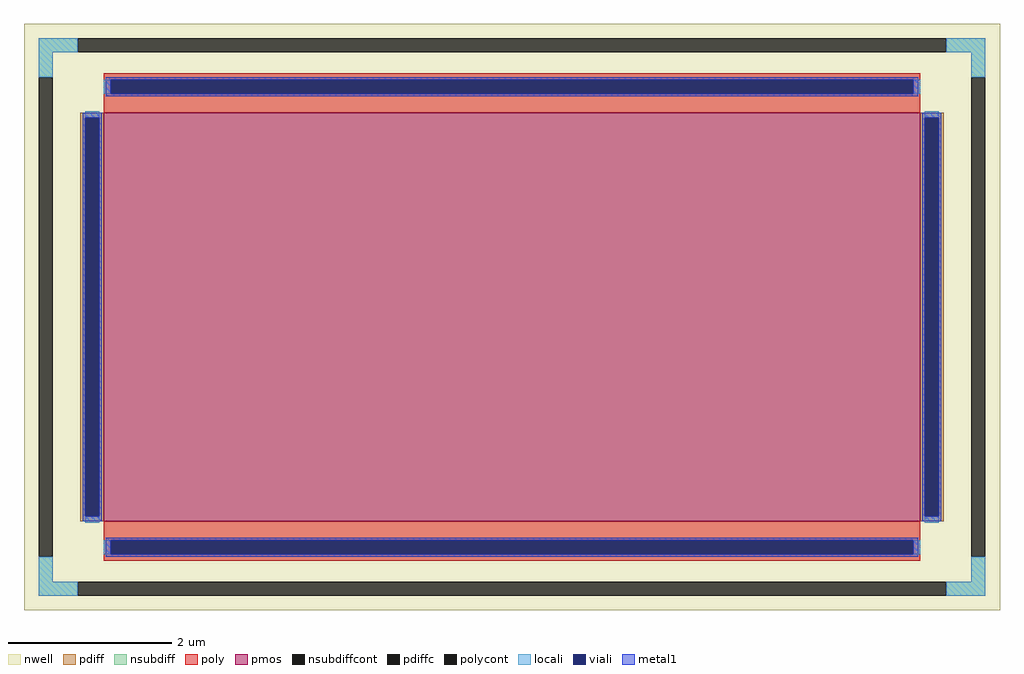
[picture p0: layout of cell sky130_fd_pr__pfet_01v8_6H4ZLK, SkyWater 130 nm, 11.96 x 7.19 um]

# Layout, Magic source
magic
tech sky130A
magscale 1 2
<< nwell >>
rect -1196 -719 1196 719
<< pmos >>
rect -1000 -500 1000 500
<< pdiff >>
rect -1058 488 -1000 500
rect -1058 -488 -1046 488
rect -1012 -488 -1000 488
rect -1058 -500 -1000 -488
rect 1000 488 1058 500
rect 1000 -488 1012 488
rect 1046 -488 1058 488
rect 1000 -500 1058 -488
<< pdiffc >>
rect -1046 -488 -1012 488
rect 1012 -488 1046 488
<< nsubdiff >>
rect -1160 649 -1064 683
rect 1064 649 1160 683
rect -1160 587 -1126 649
rect 1126 587 1160 649
rect -1160 -649 -1126 -587
rect 1126 -649 1160 -587
rect -1160 -683 -1064 -649
rect 1064 -683 1160 -649
<< nsubdiffcont >>
rect -1064 649 1064 683
rect -1160 -587 -1126 587
rect 1126 -587 1160 587
rect -1064 -683 1064 -649
<< poly >>
rect -1000 581 1000 597
rect -1000 547 -984 581
rect 984 547 1000 581
rect -1000 500 1000 547
rect -1000 -547 1000 -500
rect -1000 -581 -984 -547
rect 984 -581 1000 -547
rect -1000 -597 1000 -581
<< polycont >>
rect -984 547 984 581
rect -984 -581 984 -547
<< locali >>
rect -1160 649 -1064 683
rect 1064 649 1160 683
rect -1160 587 -1126 649
rect 1126 587 1160 649
rect -1000 547 -984 581
rect 984 547 1000 581
rect -1046 488 -1012 504
rect -1046 -504 -1012 -488
rect 1012 488 1046 504
rect 1012 -504 1046 -488
rect -1000 -581 -984 -547
rect 984 -581 1000 -547
rect -1160 -649 -1126 -587
rect 1126 -649 1160 -587
rect -1160 -683 -1064 -649
rect 1064 -683 1160 -649
<< viali >>
rect -984 547 984 581
rect -1046 -488 -1012 488
rect 1012 -488 1046 488
rect -984 -581 984 -547
<< metal1 >>
rect -996 581 996 587
rect -996 547 -984 581
rect 984 547 996 581
rect -996 541 996 547
rect -1052 488 -1006 500
rect -1052 -488 -1046 488
rect -1012 -488 -1006 488
rect -1052 -500 -1006 -488
rect 1006 488 1052 500
rect 1006 -488 1012 488
rect 1046 -488 1052 488
rect 1006 -500 1052 -488
rect -996 -547 996 -541
rect -996 -581 -984 -547
rect 984 -581 996 -547
rect -996 -587 996 -581
<< properties >>
string FIXED_BBOX -1143 -666 1143 666
string gencell sky130_fd_pr__pfet_01v8
string library sky130
string parameters w 5.0 l 10.0 m 1 nf 1 diffcov 100 polycov 100 guard 1 glc 1 grc 1 gtc 1 gbc 1 tbcov 100 rlcov 100 topc 1 botc 1 poverlap 0 doverlap 1 lmin 0.15 wmin 0.42 compatible {sky130_fd_pr__pfet_01v8  sky130_fd_pr__pfet_01v8_lvt sky130_fd_pr__pfet_01v8_hvt  sky130_fd_pr__pfet_g5v0d10v5} full_metal 1 viasrc 100 viadrn 100 viagate 100 viagb 0 viagr 0 viagl 0 viagt 0
<< end >>
